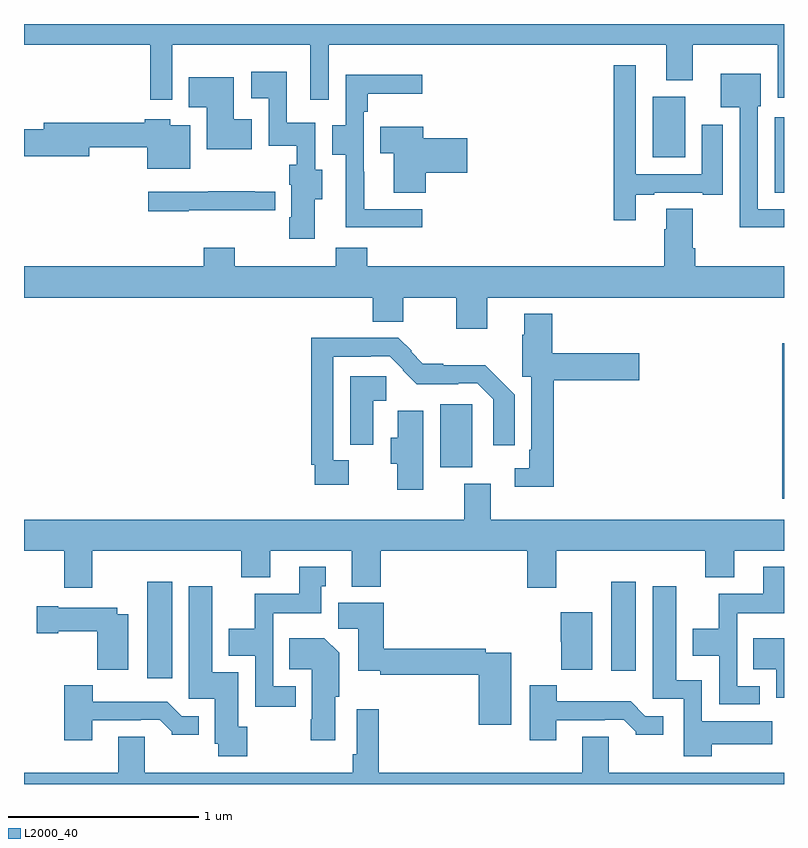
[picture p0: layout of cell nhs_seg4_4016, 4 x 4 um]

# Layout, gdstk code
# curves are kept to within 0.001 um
import gdstk
lib = gdstk.Library(unit=1e-6, precision=1e-09)
def R(c, l, rs):  # rectangles x0, y0, x1, y1
    for r in rs: c.add(gdstk.rectangle(r[:2], r[2:], *l))
def P(c, l, *ps):  # polygons
    for p in ps: c.add(gdstk.Polygon(p, *l))
L2000_40 = (2000, 40)

nhs_seg4_4016 = lib.new_cell('nhs_seg4_4016')
R(nhs_seg4_4016, L2000_40, [(323.648,821.457,323.779,821.965), (326.09,821.496,326.221,821.965), (326.992,822.402,327,823.219), (325.19,822.566,325.36,822.9), (326.951,824.011,327,824.41), (326.309,824.198,326.479,824.518)])
P(nhs_seg4_4016, L2000_40, [(323,824.792),(323.665,824.792),(323.665,824.502),(323.781,824.502),(323.781,824.792),(324.507,824.792),(324.507,824.502),(324.603,824.502),(324.603,824.792),(326.381,824.792),(326.381,824.603),(326.521,824.603),(326.521,824.792),(326.966,824.792),(326.966,824.511),(327,824.511),(327,824.9),(323,824.9)],
  [(326.221,824.001),(326.317,824.001),(326.317,824.013),(326.573,824.013),(326.573,824.001),(326.677,824.001),(326.677,824.371),(326.567,824.371),(326.567,824.109),(326.22,824.109),(326.22,824.683),(326.104,824.683),(326.104,823.866),(326.221,823.866)],
  [(324.529,823.978),(324.571,823.978),(324.571,824.133),(324.534,824.133),(324.534,824.38),(324.384,824.38),(324.384,824.65),(324.195,824.65),(324.195,824.51),(324.288,824.51),(324.288,824.258),(324.436,824.258),(324.436,824.158),(324.395,824.158),(324.395,824.054),(324.407,824.054),(324.407,823.882),(324.396,823.882),(324.396,823.77),(324.529,823.77)],
  [(327,823.926),(326.862,823.926),(326.862,824.466),(326.878,824.466),(326.878,824.638),(326.666,824.638),(326.666,824.462),(326.766,824.462),(326.766,823.829),(327,823.829)],
  [(325.096,823.926),(324.79,823.926),(324.79,824.123),(324.789,824.123),(324.789,824.438),(324.809,824.438),(324.809,824.534),(325.096,824.534),(325.096,824.632),(324.693,824.632),(324.693,824.367),(324.623,824.367),(324.623,824.212),(324.693,824.212),(324.693,823.83),(325.096,823.83)],
  [(324.199,824.398),(324.103,824.398),(324.103,824.62),(323.866,824.62),(323.866,824.462),(323.963,824.462),(323.963,824.24),(324.199,824.24)],
  [(323.875,824.368),(323.77,824.368),(323.77,824.398),(323.636,824.398),(323.636,824.38),(323.105,824.38),(323.105,824.346),(323,824.346),(323,824.204),(323.344,824.204),(323.344,824.251),(323.648,824.251),(323.648,824.138),(323.875,824.138)],
  [(325.115,824.117),(325.333,824.117),(325.333,824.3),(325.102,824.3),(325.102,824.359),(324.874,824.359),(324.874,824.219),(324.947,824.219),(324.947,824.011),(325.115,824.011)],
  [(323.867,823.919),(324.322,823.919),(324.322,824.018),(324.215,824.018),(324.215,824.019),(323.971,824.019),(323.971,824.016),(323.655,824.016),(323.655,823.915),(323.867,823.915)],
  [(325.438,823.46),(327,823.46),(327,823.624),(326.534,823.624),(326.534,823.72),(326.521,823.72),(326.521,823.928),(326.381,823.928),(326.381,823.82),(326.369,823.82),(326.369,823.624),(324.806,823.624),(324.806,823.723),(324.641,823.723),(324.641,823.624),(324.11,823.624),(324.11,823.723),(323.945,823.723),(323.945,823.624),(323,823.624),(323,823.46),(324.836,823.46),(324.836,823.334),(324.997,823.334),(324.997,823.46),(325.274,823.46),(325.274,823.296),(325.438,823.296)],
  [(325.787,823.025),(326.239,823.025),(326.239,823.167),(325.781,823.167),(325.781,823.375),(325.634,823.375),(325.634,823.265),(325.622,823.265),(325.622,823.044),(325.671,823.044),(325.671,822.658),(325.659,822.658),(325.659,822.561),(325.584,822.561),(325.584,822.464),(325.787,822.464)],
  [(324.71,822.604),(324.627,822.604),(324.627,823.148),(324.824,823.148),(324.824,823.152),(324.924,823.152),(324.996,823.08),(324.993,823.077),(325.067,823.004),(325.286,823.004),(325.286,823.008),(325.386,823.008),(325.47,822.924),(325.47,822.684),(325.582,822.684),(325.582,822.948),(325.427,823.105),(325.207,823.105),(325.207,823.113),(325.099,823.113),(325.037,823.175),(325.041,823.179),(324.971,823.249),(324.511,823.249),(324.511,822.58),(324.531,822.58),(324.531,822.476),(324.71,822.476)],
  [(324.838,822.917),(324.907,822.917),(324.907,823.046),(324.716,823.046),(324.716,822.685),(324.838,822.685)],
  [(325.102,822.865),(324.968,822.865),(324.968,822.723),(324.929,822.723),(324.929,822.586),(324.965,822.586),(324.965,822.45),(325.102,822.45)],
  [(325.649,821.934),(325.801,821.934),(325.801,822.128),(326.585,822.128),(326.585,821.987),(326.737,821.987),(326.737,822.128),(327,822.128),(327,822.292),(325.456,822.292),(325.456,822.481),(325.316,822.481),(325.316,822.292),(323,822.292),(323,822.128),(323.212,822.128),(323.212,821.934),(323.359,821.934),(323.359,822.128),(324.143,822.128),(324.143,821.987),(324.295,821.987),(324.295,822.128),(324.725,822.128),(324.725,821.939),(324.878,821.939),(324.878,822.128),(325.649,822.128)],
  [(326.872,821.415),(326.754,821.415),(326.754,821.798),(327,821.798),(327,822.043),(326.891,822.043),(326.891,821.902),(326.656,821.902),(326.656,821.716),(326.519,821.716),(326.519,821.576),(326.658,821.576),(326.658,821.319),(326.872,821.319)],
  [(324.43,821.415),(324.312,821.415),(324.312,821.798),(324.565,821.798),(324.565,821.94),(324.589,821.94),(324.589,822.043),(324.449,822.043),(324.449,821.902),(324.214,821.902),(324.214,821.716),(324.077,821.716),(324.077,821.576),(324.216,821.576),(324.216,821.307),(324.43,821.307)],
  [(324.174,821.202),(324.127,821.202),(324.127,821.488),(323.992,821.488),(323.992,821.941),(323.867,821.941),(323.867,821.349),(324.005,821.349),(324.005,821.112),(324.022,821.112),(324.022,821.046),(324.174,821.046)],
  [(326.621,821.108),(326.938,821.108),(326.938,821.23),(326.568,821.23),(326.568,821.446),(326.434,821.446),(326.434,821.941),(326.309,821.941),(326.309,821.349),(326.472,821.349),(326.472,821.046),(326.621,821.046)],
  [(325.564,821.592),(325.43,821.592),(325.43,821.612),(324.893,821.612),(324.893,821.854),(324.653,821.854),(324.653,821.716),(324.758,821.716),(324.758,821.495),(324.874,821.495),(324.874,821.476),(325.394,821.476),(325.394,821.211),(325.564,821.211)],
  [(323.548,821.794),(323.49,821.794),(323.49,821.827),(323.179,821.827),(323.179,821.835),(323.067,821.835),(323.067,821.693),(323.179,821.693),(323.179,821.705),(323.386,821.705),(323.386,821.501),(323.548,821.501)],
  [(325.99,821.803),(325.826,821.803),(325.826,821.649),(325.828,821.649),(325.828,821.501),(325.99,821.501)],
  [(324.637,821.358),(324.658,821.358),(324.658,821.59),(324.58,821.668),(324.397,821.668),(324.397,821.504),(324.515,821.504),(324.515,821.242),(324.508,821.242),(324.508,821.13),(324.637,821.13)],
  [(327,821.668),(326.839,821.668),(326.839,821.504),(326.96,821.504),(326.96,821.354),(327,821.354)],
  [(325.801,821.235),(326.057,821.235),(326.057,821.238),(326.156,821.238),(326.22,821.174),(326.22,821.159),(326.365,821.159),(326.365,821.256),(326.271,821.256),(326.193,821.335),(325.804,821.335),(325.804,821.419),(325.661,821.419),(325.661,821.13),(325.801,821.13)],
  [(323.359,821.235),(323.615,821.235),(323.615,821.238),(323.714,821.238),(323.778,821.174),(323.778,821.159),(323.92,821.159),(323.92,821.256),(323.829,821.256),(323.753,821.332),(323.362,821.332),(323.362,821.419),(323.212,821.419),(323.212,821.13),(323.359,821.13)],
  [(327,820.96),(326.077,820.96),(326.077,821.15),(325.937,821.15),(325.937,820.96),(324.866,820.96),(324.866,821.293),(324.75,821.293),(324.75,821.056),(324.73,821.056),(324.73,820.96),(323.635,820.96),(323.635,821.15),(323.495,821.15),(323.495,820.96),(323,820.96),(323,820.9),(327,820.9)])

lib.write_gds('nhs_seg4_4016.gds')
